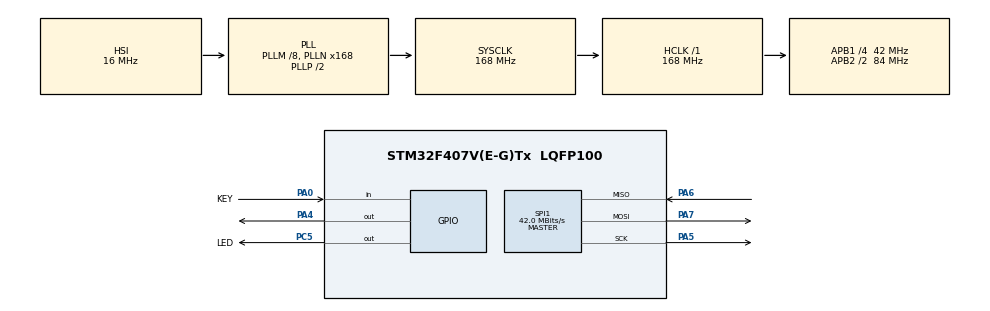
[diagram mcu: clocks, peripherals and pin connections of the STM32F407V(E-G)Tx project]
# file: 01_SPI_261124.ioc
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Mcu.Family=STM32F4
Mcu.Name=STM32F407V(E-G)Tx
Mcu.Package=LQFP100
NVIC.PriorityGroup=NVIC_PRIORITYGROUP_4
PA0-WKUP.GPIO_Label=KEY
PA0-WKUP.Signal=GPIO_Input
PA13.Mode=Serial_Wire
PA13.Signal=SYS_JTMS-SWDIO
PA14.Mode=Serial_Wire
PA14.Signal=SYS_JTCK-SWCLK
PA4.GPIO_Speed=GPIO_SPEED_FREQ_HIGH
PA4.PinState=GPIO_PIN_SET
PA4.Signal=GPIO_Output
PA5.Mode=Full_Duplex_Master
PA5.Signal=SPI1_SCK
PA6.Mode=Full_Duplex_Master
PA6.Signal=SPI1_MISO
PA7.Mode=Full_Duplex_Master
PA7.Signal=SPI1_MOSI
PC5.GPIO_Label=LED
PC5.PinState=GPIO_PIN_SET
PC5.Signal=GPIO_Output
PH0-OSC_IN.Mode=HSE-External-Oscillator
PH0-OSC_IN.Signal=RCC_OSC_IN
PH1-OSC_OUT.Mode=HSE-External-Oscillator
PH1-OSC_OUT.Signal=RCC_OSC_OUT
ProjectManager.HeapSize=0x200
ProjectManager.StackSize=0x400
ProjectManager.TargetToolchain=CMake
RCC.48MHZClocksFreq_Value=84000000
RCC.AHBFreq_Value=168000000
RCC.APB1CLKDivider=RCC_HCLK_DIV4
RCC.APB1Freq_Value=42000000
RCC.APB1TimFreq_Value=84000000
RCC.APB2CLKDivider=RCC_HCLK_DIV2
RCC.APB2Freq_Value=84000000
RCC.APB2TimFreq_Value=168000000
RCC.CortexFreq_Value=168000000
RCC.HCLKFreq_Value=168000000
RCC.HSE_VALUE=8000000
RCC.HSI_VALUE=16000000
RCC.LSE_VALUE=32768
RCC.PLLM=8
RCC.PLLN=168
RCC.SYSCLKFreq_VALUE=168000000
RCC.SYSCLKSource=RCC_SYSCLKSOURCE_PLLCLK
RCC.VCOOutputFreq_Value=336000000
SPI1.BaudRatePrescaler=SPI_BAUDRATEPRESCALER_2
SPI1.CLKPhase=SPI_PHASE_2EDGE
SPI1.CLKPolarity=SPI_POLARITY_HIGH
SPI1.CalculateBaudRate=42.0 MBits/s
SPI1.Direction=SPI_DIRECTION_2LINES
SPI1.Mode=SPI_MODE_MASTER
SPI1.VirtualType=VM_MASTER
board=custom

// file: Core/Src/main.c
/* USER CODE BEGIN Header */
/**
  ******************************************************************************
  * @file           : main.c
  * @brief          : Main program body
  ******************************************************************************
  * @attention
  *
  * Copyright (c) 2026 STMicroelectronics.
  * All rights reserved.
  *
  * This software is licensed under terms that can be found in the LICENSE file
  * in the root directory of this software component.
  * If no LICENSE file comes with this software, it is provided AS-IS.
  *
  ******************************************************************************
  */
/* USER CODE END Header */
#include "main.h"
#include "spi.h"
#include "gpio.h"

void SystemClock_Config(void);
/* USER CODE BEGIN PFP */
static void Flash_CS_Low(void);
static void Flash_CS_High(void);
static void Flash_WaitBusy(void);
static void Flash_WriteEnable(void);
static uint8_t LoadLedState(void);
static void SaveLedState(uint8_t state);
static void ApplyLedState(uint8_t state);
/* USER CODE END PFP */

/* USER CODE BEGIN 0 */
static void Flash_CS_Low(void) {
    HAL_GPIO_WritePin(GPIOA, GPIO_PIN_4, GPIO_PIN_RESET);
}

static void Flash_CS_High(void) {
    HAL_GPIO_WritePin(GPIOA, GPIO_PIN_4, GPIO_PIN_SET);
}

static void Flash_WaitBusy(void) {
    uint8_t cmd = 0x05;
    uint8_t dummy = 0xFF;
    uint8_t sr1 = 0x01;
    uint32_t start = HAL_GetTick();

    do {
        Flash_CS_Low();
        HAL_SPI_Transmit(&hspi1, &cmd, 1, HAL_MAX_DELAY);
        HAL_SPI_TransmitReceive(&hspi1, &dummy, &sr1, 1, HAL_MAX_DELAY);
        Flash_CS_High();

        if ((HAL_GetTick() - start) > 1000u) {
            break;
        }
    } while ((sr1 & 0x01u) != 0u);
}

static void Flash_WriteEnable(void) {
    uint8_t writeEnableCmd = 0x06;

    Flash_CS_Low();
    HAL_SPI_Transmit(&hspi1, &writeEnableCmd, 1, HAL_MAX_DELAY);
    Flash_CS_High();
}

static uint8_t LoadLedState(void) {
    uint8_t readCmd[] = {0x03, 0x00, 0x00, 0x00};
    uint8_t dummy = 0xFF;
    uint8_t state = 0xFF;

    Flash_WaitBusy();

    Flash_CS_Low();
    HAL_SPI_Transmit(&hspi1, readCmd, 4, HAL_MAX_DELAY);
    HAL_SPI_TransmitReceive(&hspi1, &dummy, &state, 1, HAL_MAX_DELAY);
    Flash_CS_High();

    return (state == 1u) ? 1u : 0u;
}

static void SaveLedState(uint8_t state) {
    uint8_t sectorErase[] = {0x20, 0x00, 0x00, 0x00};
    uint8_t pageProgCmd[] = {0x02, 0x00, 0x00, 0x00, state};

    Flash_WaitBusy();

    // 1. 写使能 + 扇区擦除，轮询等待擦除完成
    Flash_WriteEnable();
    Flash_CS_Low();
    HAL_SPI_Transmit(&hspi1, sectorErase, 4, HAL_MAX_DELAY);
    Flash_CS_High();
    Flash_WaitBusy();

    // 2. 写使能 + 页编程，轮询等待写入完成
    Flash_WriteEnable();
    Flash_CS_Low();
    HAL_SPI_Transmit(&hspi1, pageProgCmd, 5, HAL_MAX_DELAY);
    Flash_CS_High();
    Flash_WaitBusy();
}

static void ApplyLedState(uint8_t state) {
    HAL_GPIO_WritePin(LED_GPIO_Port, LED_Pin, (state != 0u) ? GPIO_PIN_RESET : GPIO_PIN_SET);
}

uint8_t ledState = 0;
/* USER CODE END 0 */

int main(void) {

    /* MCU Configuration--------------------------------------------------------*/

    /* Reset of all peripherals, Initializes the Flash interface and the Systick. */
    HAL_Init();

    /* Configure the system clock */
    SystemClock_Config();

    /* Initialize all configured peripherals */
    MX_GPIO_Init();
    MX_SPI1_Init();
    /* USER CODE BEGIN 2 */
    HAL_Delay(20u);  // 等待外部 Flash 上电稳定
    ledState = LoadLedState();
    ApplyLedState(ledState);
    GPIO_PinState pre = HAL_GPIO_ReadPin(KEY_GPIO_Port, KEY_Pin);
    /* USER CODE END 2 */

    /* Infinite loop */
    /* USER CODE BEGIN WHILE */
    while (1) {
        GPIO_PinState cur = HAL_GPIO_ReadPin(KEY_GPIO_Port, KEY_Pin);

        if (cur != pre) {
            HAL_Delay(15u);
            cur = HAL_GPIO_ReadPin(KEY_GPIO_Port, KEY_Pin);

            if (cur != pre) {
                pre = cur;

                if (cur == GPIO_PIN_RESET) {
                    // 按钮按下（PA0 接地）
                } else {
                    // 按钮抬起（PA0 由 R3 上拉回 3V3）
                    ledState = (ledState == 0u) ? 1u : 0u;
                    ApplyLedState(ledState);
                    SaveLedState(ledState);
                }
            }
        }
        /* USER CODE END WHILE */

    }
}

void SystemClock_Config(void) {
    RCC_OscInitTypeDef RCC_OscInitStruct = {0};
    RCC_ClkInitTypeDef RCC_ClkInitStruct = {0};

    /** Configure the main internal regulator output voltage
  */
    __HAL_RCC_PWR_CLK_ENABLE();
    __HAL_PWR_VOLTAGESCALING_CONFIG(PWR_REGULATOR_VOLTAGE_SCALE1);

    /** Initializes the RCC Oscillators according to the specified parameters
  * in the RCC_OscInitTypeDef structure.
  */
    RCC_OscInitStruct.OscillatorType = RCC_OSCILLATORTYPE_HSI;
    RCC_OscInitStruct.HSIState = RCC_HSI_ON;
    RCC_OscInitStruct.HSICalibrationValue = RCC_HSICALIBRATION_DEFAULT;
    RCC_OscInitStruct.PLL.PLLState = RCC_PLL_ON;
    RCC_OscInitStruct.PLL.PLLSource = RCC_PLLSOURCE_HSI;
    RCC_OscInitStruct.PLL.PLLM = 8;
    RCC_OscInitStruct.PLL.PLLN = 168;
    RCC_OscInitStruct.PLL.PLLP = RCC_PLLP_DIV2;
    RCC_OscInitStruct.PLL.PLLQ = 4;
    if (HAL_RCC_OscConfig(&RCC_OscInitStruct) != HAL_OK) {
        Error_Handler();
    }

    /** Initializes the CPU, AHB and APB buses clocks
  */
    RCC_ClkInitStruct.ClockType = RCC_CLOCKTYPE_HCLK | RCC_CLOCKTYPE_SYSCLK | RCC_CLOCKTYPE_PCLK1 | RCC_CLOCKTYPE_PCLK2;
    RCC_ClkInitStruct.SYSCLKSource = RCC_SYSCLKSOURCE_PLLCLK;
    RCC_ClkInitStruct.AHBCLKDivider = RCC_SYSCLK_DIV1;
    RCC_ClkInitStruct.APB1CLKDivider = RCC_HCLK_DIV4;
    RCC_ClkInitStruct.APB2CLKDivider = RCC_HCLK_DIV2;

    if (HAL_RCC_ClockConfig(&RCC_ClkInitStruct, FLASH_LATENCY_5) != HAL_OK) {
        Error_Handler();
    }
}

void Error_Handler(void) {
    __disable_irq();
    while (1) {
    }
}
